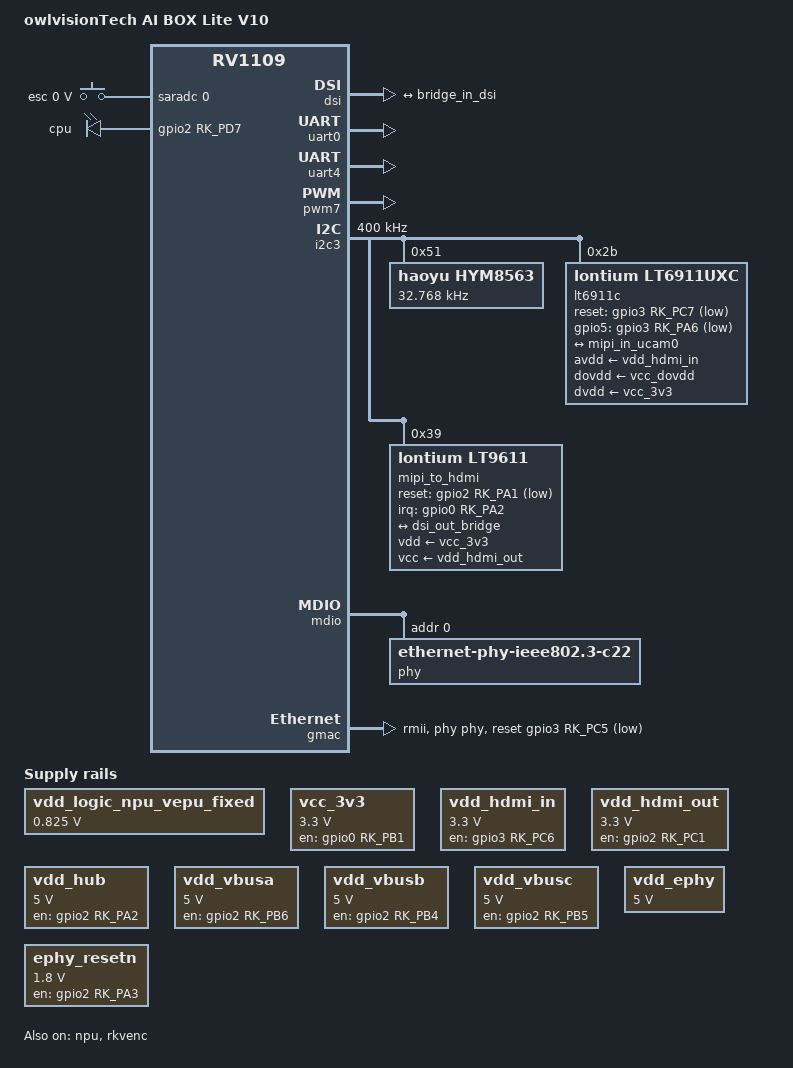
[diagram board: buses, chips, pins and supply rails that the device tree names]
// SPDX-License-Identifier: (GPL-2.0+ OR MIT)
/*
 * Copyright (c) 2020 Rockchip Electronics Co., Ltd.
 */

/dts-v1/;
#include "rv1126.dtsi"
#include "rv1126-owl-discrete-dcdc.dtsi"
#include <dt-bindings/input/input.h>

/ {
	model = "owlvisionTech AI BOX Lite V10";
	compatible = "rockchip,rv1109-38-v10-spi-nand", "rockchip,rv1109";

	chosen {
		bootargs = "earlycon=uart8250,mmio32,0xff570000 console=ttyFIQ0 root=PARTUUID=614e0000-0000 rootfstype=ext4 rootwait snd_aloop.index=7";
	};

	adc-keys {
		compatible = "adc-keys";
		io-channels = <&saradc 0>;
		io-channel-names = "buttons";
		poll-interval = <100>;
		keyup-threshold-microvolt = <1800000>;

		esc-key {
			label = "esc";
			linux,code = <KEY_ESC>;
			press-threshold-microvolt = <0>;
		};
	};

    gpio-leds {
        compatible = "gpio-leds";

        led0: cpu {
            label = "cpu";
            gpios = <&gpio2 RK_PD7 GPIO_ACTIVE_HIGH>;
            default-state = "on";
            linux,default-trigger = "heartbeat";
        };
    };

    /delete-node/ vdd-vepu;

    vdd_logic_npu_vepu_fixed: vdd-logic-npu-vepu-fixed {
        compatible = "regulator-fixed";
        regulator-name = "vdd_logic_npu_vepu-fixed";
        regulator-always-on;
        regulator-boot-on;
        regulator-min-microvolt = <825000>;
        regulator-max-microvolt = <825000>;
    };

	vcc_3v3: vcc-3v3 {
		compatible = "regulator-fixed";
		regulator-name = "vcc_3v3";
        gpio = <&gpio0 RK_PB1 GPIO_ACTIVE_HIGH>;
        enable-active-high;
		regulator-always-on;
		regulator-boot-on;
		regulator-min-microvolt = <3300000>;
		regulator-max-microvolt = <3300000>;
	};

    vdd_hdmi_in: vdd-hdmi-in {
        compatible = "regulator-fixed";
        regulator-name = "vdd_hdmi_in";
        gpio = <&gpio3 RK_PC6 GPIO_ACTIVE_HIGH>;
        enable-active-high;
        regulator-always-on;
        regulator-boot-on;
        regulator-min-microvolt = <3300000>;
        regulator-max-microvolt = <3300000>;
    };

    vdd_hdmi_out: vdd-hdmi-out {
        compatible = "regulator-fixed";
        regulator-name = "vdd_hdmi_out";
        gpio = <&gpio2 RK_PC1 GPIO_ACTIVE_HIGH>;
        enable-active-high;
        regulator-always-on;
        regulator-boot-on;
        regulator-min-microvolt = <3300000>;
        regulator-max-microvolt = <3300000>;
    };

    vdd_hub: vdd-hub {
        compatible = "regulator-fixed";
        regulator-name = "vdd_hub";
        gpio = <&gpio2 RK_PA2 GPIO_ACTIVE_HIGH>;
        enable-active-high;
        regulator-always-on;
        regulator-boot-on;
        regulator-min-microvolt = <5000000>;
        regulator-max-microvolt = <5000000>;
    };

    vdd_vbusa: vdd-vbusa {
        compatible = "regulator-fixed";
        regulator-name = "vdd_vbusa";
        gpio = <&gpio2 RK_PB6 GPIO_ACTIVE_HIGH>;
        enable-active-high;
        regulator-always-on;
        regulator-boot-on;
        regulator-min-microvolt = <5000000>;
        regulator-max-microvolt = <5000000>;
    };

    vdd_vbusb: vdd-vbusb {
        compatible = "regulator-fixed";
        regulator-name = "vdd_vbusb";
        gpio = <&gpio2 RK_PB4 GPIO_ACTIVE_HIGH>;
        enable-active-high;
        regulator-always-on;
        regulator-boot-on;
        regulator-min-microvolt = <5000000>;
        regulator-max-microvolt = <5000000>;
    };

    vdd_vbusc: vdd-vbusc {
        compatible = "regulator-fixed";
        regulator-name = "vdd_vbusc";
        gpio = <&gpio2 RK_PB5 GPIO_ACTIVE_HIGH>;
        enable-active-high;
        regulator-always-on;
        regulator-boot-on;
        regulator-min-microvolt = <5000000>;
        regulator-max-microvolt = <5000000>;
    };

    vdd_ephy: vdd-ephy {
        compatible = "regulator-fixed";
        regulator-name = "vdd_ephy";
        /* gpio = <&gpio2 RK_PA4 GPIO_ACTIVE_HIGH>; */
        enable-active-high;
        regulator-always-on;
        regulator-boot-on;
        regulator-min-microvolt = <5000000>;
        regulator-max-microvolt = <5000000>;
    };

    ephy_resetn: ephy-resetn {
        compatible = "regulator-fixed";
        regulator-name = "ephy_resetn";
        gpio = <&gpio2 RK_PA3 GPIO_ACTIVE_HIGH>;
        enable-active-high;
        regulator-always-on;
        regulator-boot-on;
        regulator-min-microvolt = <1800000>;
        regulator-max-microvolt = <1800000>;
    };
};

&npu {
    status = "okay";
    npu-supply = <&vdd_logic_npu_vepu_fixed>;
};

&rkvenc {
    status = "okay";
    venc-supply = <&vdd_logic_npu_vepu_fixed>;
};

&npu_opp_table {
 /delete-node/ opp-700000000;
 /delete-node/ opp-800000000;
 /delete-node/ opp-934000000;
};

&isp_reserved {
    size = <0x10000000>;
};

&route_dsi {
    status = "disabled";
};

&dsi {
    status = "okay";

    rockchip,lane-rate = <855>;
    /delete-node/ panel@0;

    ports {
        #address-cells = <1>;
        #size-cells = <0>;

        port@1 {
            reg = <1>;

            dsi_out_bridge: endpoint {
                remote-endpoint = <&bridge_in_dsi>;
            };
        };
    };
};

&uart0 {
    pinctrl-names = "default";
    pinctrl-0 = <&uart0_xfer &uart0_ctsn>;
    dma-names = "tx", "rx";
    status = "okay";
};

&uart4 {
    status = "okay";
    pinctrl-names = "default";
    dma-names = "tx", "rx";
    pinctrl-0 = <&uart4m1_xfer>;
};

&pwm7 {
	status = "okay";
	pinctrl-names = "active";
	pinctrl-0 = <&pwm7m0_pins_pull_down>;
};

&i2c0 {
    /delete-node/ hym8563@51;
};

&csi_dphy1 {
	status = "disabled";
    /delete-node/ ports;
};

&i2c1 {
	/delete-node/ imx415@1a;
	/delete-node/ ov4689@36;
};

&i2c3 {
	status = "okay";
	clock-frequency = <400000>;
	pinctrl-0 = <&i2c3m0_xfer &i2c3m2_xfer>;

    hym8563: hym8563@51 {
        compatible = "haoyu,hym8563";
        reg = <0x51>;
        #clock-cells = <0>;
        clock-frequency = <32768>;
        clock-output-names = "xin32k";
    };

    lt6911c: lt6911c@2b {
        compatible = "lontium,lt6911uxc";
        reg = <0x2b>;

        power-domains = <&power RV1126_PD_VI>;
        pinctrl-names = "rockchip,camera_default";
        pinctrl-0 = <&lt6911_irq_gpio>;

        gpio-reset = <&gpio3 RK_PC7 GPIO_ACTIVE_LOW>;
        reset-gpio = <&gpio3 RK_PC7 GPIO_ACTIVE_LOW>;
        gpio5-gpio = <&gpio3 RK_PA6 GPIO_ACTIVE_LOW>;

        avdd-supply = <&vdd_hdmi_in>;
        dovdd-supply = <&vcc_dovdd>;
        dvdd-supply = <&vcc_3v3>;

        rockchip,camera-module-index = <0>;
        rockchip,camera-module-facing = "front";
        rockchip,camera-module-name = "YT-RV1109-2-V1";
        rockchip,camera-module-lens-name = "40IR-2MP-F20";
        port {
            ucam_out0: endpoint {
               remote-endpoint = <&mipi_in_ucam0>;
               data-lanes = <1 2 3 4>;
           };
        };
    };

    mipi_to_hdmi:lt9611@39 {
        status = "okay";
        compatible = "lontium,lt9611";
        reg = <0x39>;

        vdd-supply = <&vcc_3v3>;
        vcc-supply = <&vdd_hdmi_out>;

        interrupts-extended = <&gpio0 RK_PA2 IRQ_TYPE_EDGE_FALLING>;
        reset-gpios = <&gpio2 RK_PA1 GPIO_ACTIVE_LOW>;
        pinctrl-names = "default";
        pinctrl-0 = <&lt9611_irq>;
        ports {
            #address-cells = <1>;
            #size-cells = <0>;

            port@0 {
                reg = <0>;

                bridge_in_dsi: endpoint {
                    remote-endpoint = <&dsi_out_bridge>;
                };
            };
        };
    };
};

&pinctrl {
    dev_pwr {
        dev_pwr_en: dev-pwr-en {
            rockchip,pins = <2 RK_PB5 RK_FUNC_GPIO &pcfg_pull_none>;
        };
    };

    lt6911_irq {
        lt6911_irq_gpio: lt6911-irq {
            rockchip,pins = <3 RK_PA6 RK_FUNC_GPIO &pcfg_pull_down>;
        };
    };

    lt9611 {
        /omit-if-no-ref/
        lt9611_irq: lt9611-irq {
            rockchip,pins = <0 RK_PA2 RK_FUNC_GPIO &pcfg_pull_up>;
        };
    };
};

&mdio {
    phy: phy@0 {
        compatible = "ethernet-phy-ieee802.3-c22";
        reg = <0x0>;
    };
};

&gmac {
    phy-mode = "rmii";
    clock_in_out = "output";

    snps,reset-gpio = <&gpio3 RK_PC5 GPIO_ACTIVE_LOW>;
    snps,reset-active-low;
    snps,reset-delays-us = <0 50000 50000>;

    assigned-clocks = <&cru CLK_GMAC_SRC>, <&cru CLK_GMAC_TX_RX>;
    assigned-clock-parents = <&cru CLK_GMAC_SRC_M0>, <&cru RMII_MODE_CLK>;
    assigned-clock-rates = <50000000>;

    pinctrl-names = "default";
    pinctrl-0 = <&rmiim0_pins &gmac_clk_m0_drv_level0_pins>;

    phy-handle = <&phy>;
    status = "okay";
};

&pmu_io_domains {
	status = "okay";

	pmuio0-supply = <&vcc3v3_sys>;
	pmuio1-supply = <&vcc3v3_sys>;
	vccio2-supply = <&vcc3v3_sys>;
	vccio3-supply = <&vcc_1v8>;
	vccio4-supply = <&vcc_1v8>;
	vccio5-supply = <&vcc3v3_sys>;
	vccio6-supply = <&vcc3v3_sys>;
	vccio7-supply = <&vcc3v3_sys>;
};

